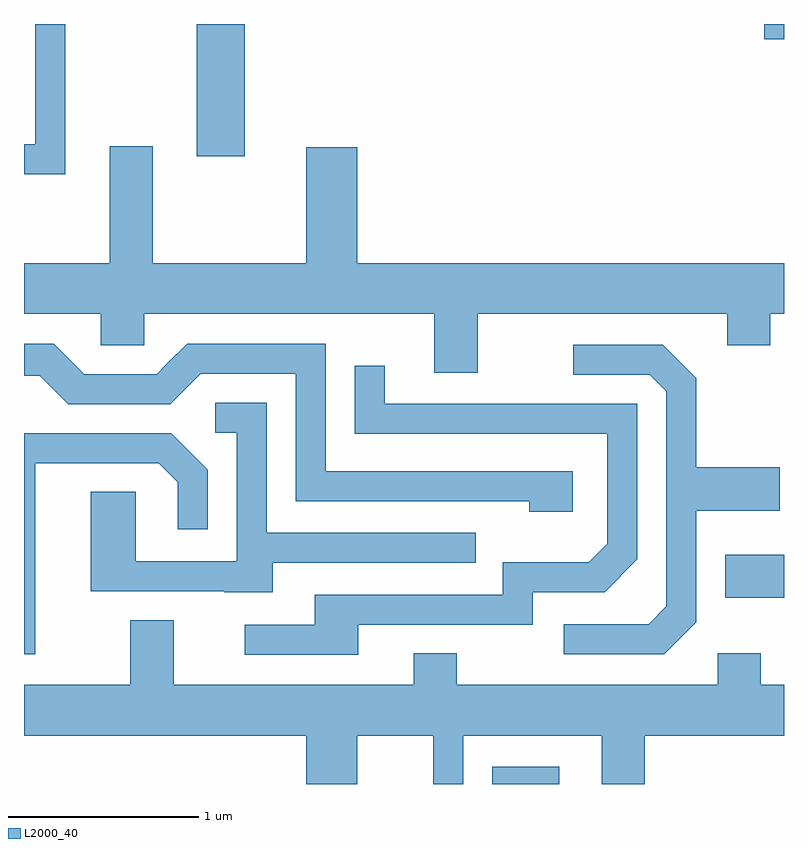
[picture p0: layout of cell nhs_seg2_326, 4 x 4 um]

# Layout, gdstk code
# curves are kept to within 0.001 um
import gdstk
lib = gdstk.Library(unit=1e-6, precision=1e-09)
def R(c, l, rs):  # rectangles x0, y0, x1, y1
    for r in rs: c.add(gdstk.rectangle(r[:2], r[2:], *l))
def P(c, l, *ps):  # polygons
    for p in ps: c.add(gdstk.Polygon(p, *l))
L2000_40 = (2000, 40)

nhs_seg2_326 = lib.new_cell('nhs_seg2_326')
R(nhs_seg2_326, L2000_40, [(196.076,1085.802,196.428,1085.894), (197.301,1086.781,197.611,1087.009), (194.521,1089.106,194.774,1089.802), (197.506,1089.721,197.611,1089.802)])
P(nhs_seg2_326, L2000_40, [(193.829,1089.802),(193.671,1089.802),(193.671,1089.169),(193.611,1089.169),(193.611,1089.011),(193.829,1089.011)],
  [(195.999,1088.276),(197.311,1088.276),(197.311,1088.111),(197.539,1088.111),(197.539,1088.276),(197.611,1088.276),(197.611,1088.544),(195.364,1088.544),(195.364,1089.154),(195.096,1089.154),(195.096,1088.544),(194.289,1088.544),(194.289,1089.159),(194.061,1089.159),(194.061,1088.544),(193.611,1088.544),(193.611,1088.276),(194.016,1088.276),(194.016,1088.111),(194.244,1088.111),(194.244,1088.276),(195.771,1088.276),(195.771,1087.966),(195.999,1087.966)],
  [(196.499,1087.449),(195.199,1087.449),(195.199,1088.119),(194.469,1088.119),(194.309,1087.959),(193.927,1087.959),(193.767,1088.119),(193.611,1088.119),(193.611,1087.951),(193.694,1087.951),(193.844,1087.801),(194.382,1087.801),(194.542,1087.961),(195.041,1087.961),(195.041,1087.291),(196.271,1087.291),(196.271,1087.236),(196.499,1087.236)],
  [(197.149,1086.654),(197.149,1087.241),(197.589,1087.241),(197.589,1087.469),(197.149,1087.469),(197.149,1087.937),(196.972,1088.114),(196.503,1088.114),(196.503,1087.956),(196.904,1087.956),(196.991,1087.869),(196.991,1086.737),(196.899,1086.644),(196.453,1086.644),(196.453,1086.486),(196.982,1086.486)],
  [(195.369,1086.641),(196.289,1086.641),(196.289,1086.811),(196.667,1086.811),(196.839,1086.984),(196.839,1087.804),(195.509,1087.804),(195.509,1088.003),(195.351,1088.003),(195.351,1087.646),(196.681,1087.646),(196.681,1087.067),(196.584,1086.969),(196.131,1086.969),(196.131,1086.799),(195.141,1086.799),(195.141,1086.639),(194.773,1086.639),(194.773,1086.481),(195.369,1086.481)],
  [(194.919,1086.966),(195.988,1086.966),(195.988,1087.124),(194.889,1087.124),(194.889,1087.809),(194.618,1087.809),(194.618,1087.651),(194.731,1087.651),(194.731,1086.974),(194.199,1086.974),(194.199,1087.339),(193.961,1087.339),(193.961,1086.816),(194.665,1086.816),(194.665,1086.811),(194.919,1086.811)],
  [(193.669,1087.491),(194.319,1087.491),(194.421,1087.389),(194.421,1087.143),(194.579,1087.143),(194.579,1087.457),(194.387,1087.649),(193.611,1087.649),(193.611,1086.486),(193.669,1086.486)],
  [(195.364,1086.056),(195.766,1086.056),(195.766,1085.802),(195.924,1085.802),(195.924,1086.056),(196.651,1086.056),(196.651,1085.802),(196.879,1085.802),(196.879,1086.056),(197.611,1086.056),(197.611,1086.324),(197.489,1086.324),(197.489,1086.489),(197.261,1086.489),(197.261,1086.324),(195.889,1086.324),(195.889,1086.489),(195.661,1086.489),(195.661,1086.324),(194.399,1086.324),(194.399,1086.664),(194.171,1086.664),(194.171,1086.324),(193.611,1086.324),(193.611,1086.056),(195.096,1086.056),(195.096,1085.802),(195.364,1085.802)])

lib.write_gds('nhs_seg2_326.gds')
